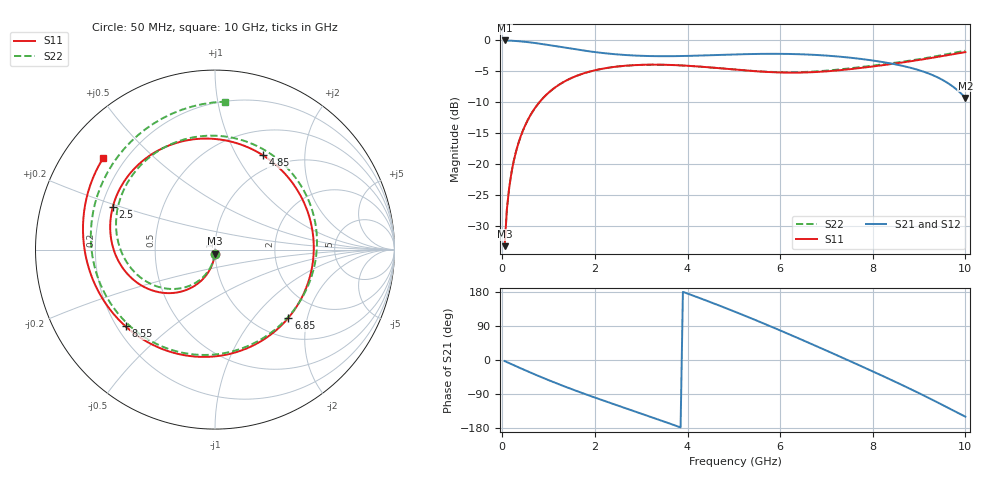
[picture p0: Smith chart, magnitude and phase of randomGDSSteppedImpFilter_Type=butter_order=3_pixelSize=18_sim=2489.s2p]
! freq	dB(S11)	phase(S11)	dB(S12)	phase(S12)
!  dB(S21)	phase(S21)	dB(S22)	phase(S22)
!S-par simulation data
#  GHz  S  DB  R 50
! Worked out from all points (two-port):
!   200 points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, 50 MHz to 10 GHz, reference 50 ohm
!   highest |S21| = -0.01 dB at 50 MHz (marker M1); lowest = -9.3 dB at 10 GHz (marker M2)
!   |S21| within 3 dB of the highest: start of sweep to 7.768 GHz
!   lowest |S11| = -33.2 dB at 50 MHz (marker M3), VSWR 1.04, Z = 49.8 - j2.19 ohm
!   |S11| at or under -10 dB: start of sweep to 797.8 MHz
!   |S22| runs from -33.2 to -1.7 dB; largest |S21 - S12| = 0
!   S11 on the Smith chart (normalised r, x): 50 MHz: 1.00, -0.04; 2.5 GHz: 0.25, +0.19; 4.85 GHz: 0.80, +1.29; 6.85 GHz: 1.39, -1.54; 8.55 GHz: 0.23, -0.35; 10 GHz: 0.12, +0.35
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0.05  -33.18 -92.7  -0.01 -2.8  -0.01 -2.8  -33.18 -93.0
0.1  -27.18 -95.5  -0.02 -5.6  -0.02 -5.6  -27.18 -96.2
0.2  -21.24 -100.9  -0.05 -11.1  -0.05 -11.1  -21.24 -102.2
0.5  -13.60 -116.4  -0.23 -27.4  -0.23 -27.4  -13.61 -119.5
1.1  -7.80 -145.3  -0.86 -58.1  -0.86 -58.1  -7.81 -152.2
1.75  -5.33 -173.2  -1.63 -88.2  -1.63 -88.2  -5.33 175.5
2.5  -4.20 157.4  -2.27 -120.4  -2.27 -120.4  -4.20 140.5
3.4  -3.91 123.3  -2.54 -158.4  -2.54 -158.4  -3.92 99.0
4.15  -4.16 93.6  -2.47 168.6  -2.47 168.6  -4.16 63.1
4.85  -4.59 63.3  -2.30 135.8  -2.30 135.8  -4.58 28.8
5.05  -4.72 54.0  -2.25 126.1  -2.25 126.1  -4.71 18.9
5.5  -4.98 32.0  -2.18 103.7  -2.18 103.7  -4.96 -3.1
5.9  -5.15 11.1  -2.16 83.3  -2.16 83.3  -5.10 -22.4
6.7  -5.12 -34.1  -2.31 41.0  -2.31 41.0  -5.02 -60.7
6.85  -5.06 -42.9  -2.37 32.9  -2.37 32.9  -4.95 -68.0
7.55  -4.60 -83.7  -2.81 -5.2  -2.81 -5.2  -4.46 -103.6
8.35  -3.86 -128.5  -3.66 -49.8  -3.66 -49.8  -3.73 -149.7
8.55  -3.65 -139.4  -3.95 -61.2  -3.95 -61.2  -3.53 -162.5
8.95  -3.21 -160.8  -4.69 -84.6  -4.69 -84.6  -3.09 170.1
9.3  -2.78 -179.6  -5.62 -105.8  -5.62 -105.8  -2.64 144.0
9.7  -2.26 158.3  -7.27 -130.8  -7.27 -130.8  -2.07 111.8
10  -1.89 140.8  -9.29 -149.6  -9.29 -149.6  -1.66 86.1
